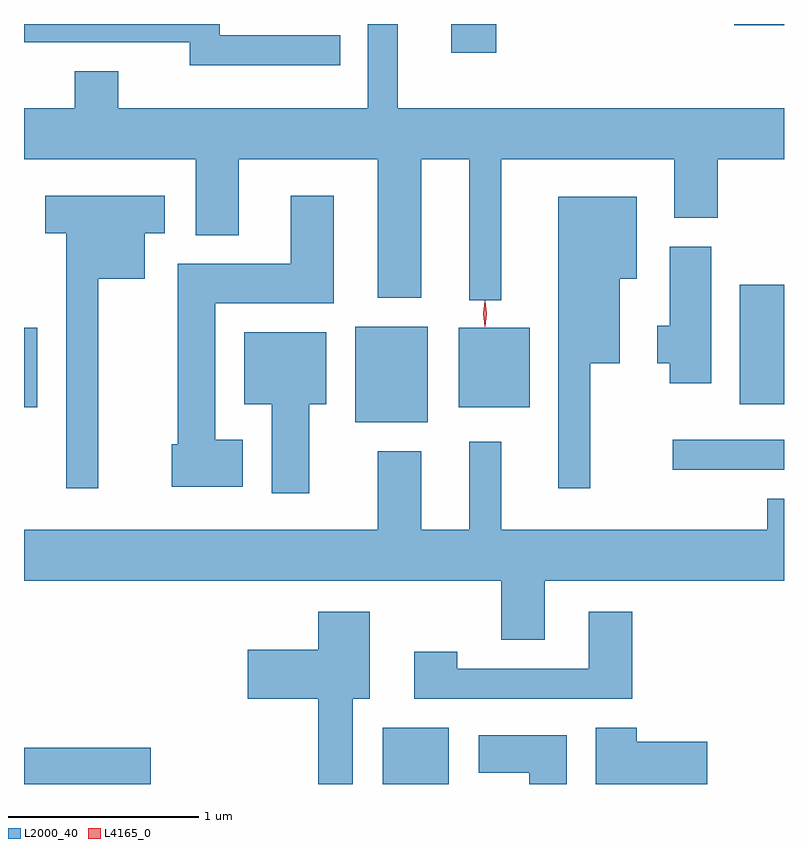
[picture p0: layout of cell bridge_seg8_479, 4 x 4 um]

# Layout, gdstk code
import gdstk
lib = gdstk.Library(unit=1e-6, precision=1e-09)
def R(c, l, rs):  # rectangles x0, y0, x1, y1
    for r in rs: c.add(gdstk.rectangle(r[:2], r[2:], *l))
def P(c, l, *ps):  # polygons
    for p in ps: c.add(gdstk.Polygon(p, *l))
L2000_40 = (2000, 40)
L4165_0 = (4165, 0)

bridge_seg8_479 = lib.new_cell('bridge_seg8_479')
R(bridge_seg8_479, L2000_40, [(226.328,1875.307,226.994,1875.499), (228.216,1875.307,228.564,1875.604), (229.743,1876.961,230.328,1877.119), (228.071,1877.211,228.454,1877.714), (226.328,1877.291,226.399,1877.709), (228.616,1877.291,228.989,1877.709), (230.096,1877.306,230.328,1877.934), (228.576,1879.156,228.814,1879.307), (230.066,1879.301,230.328,1879.307)])
P(bridge_seg8_479, L2000_40, [(227.993,1879.249),(227.359,1879.249),(227.359,1879.307),(226.328,1879.307),(226.328,1879.211),(227.201,1879.211),(227.201,1879.091),(227.993,1879.091)],
  [(228.294,1879.307),(228.136,1879.307),(228.136,1878.864),(226.824,1878.864),(226.824,1879.059),(226.596,1879.059),(226.596,1878.864),(226.328,1878.864),(226.328,1878.596),(227.231,1878.596),(227.231,1878.196),(227.459,1878.196),(227.459,1878.596),(228.191,1878.596),(228.191,1877.866),(228.419,1877.866),(228.419,1878.596),(228.671,1878.596),(228.671,1877.853),(228.839,1877.853),(228.839,1878.596),(229.751,1878.596),(229.751,1878.286),(229.979,1878.286),(229.979,1878.596),(230.328,1878.596),(230.328,1878.864),(228.294,1878.864)],
  [(226.719,1877.966),(226.964,1877.966),(226.964,1878.206),(227.069,1878.206),(227.069,1878.404),(226.441,1878.404),(226.441,1878.206),(226.551,1878.206),(226.551,1876.863),(226.719,1876.863)],
  [(227.479,1877.119),(227.334,1877.119),(227.334,1877.836),(227.959,1877.836),(227.959,1878.404),(227.731,1878.404),(227.731,1878.044),(227.136,1878.044),(227.136,1877.094),(227.106,1877.094),(227.106,1876.871),(227.479,1876.871)],
  [(229.309,1877.521),(229.464,1877.521),(229.464,1877.966),(229.554,1877.966),(229.554,1878.399),(229.141,1878.399),(229.141,1876.863),(229.309,1876.863)],
  [(229.944,1878.134),(229.726,1878.134),(229.726,1877.719),(229.661,1877.719),(229.661,1877.521),(229.726,1877.521),(229.726,1877.416),(229.944,1877.416)],
  [(227.829,1877.306),(227.919,1877.306),(227.919,1877.684),(227.486,1877.684),(227.486,1877.306),(227.631,1877.306),(227.631,1876.836),(227.829,1876.836)],
  [(229.069,1876.376),(230.328,1876.376),(230.328,1876.809),(230.241,1876.809),(230.241,1876.644),(228.839,1876.644),(228.839,1877.108),(228.671,1877.108),(228.671,1876.644),(228.419,1876.644),(228.419,1877.059),(228.191,1877.059),(228.191,1876.644),(226.328,1876.644),(226.328,1876.376),(228.841,1876.376),(228.841,1876.066),(229.069,1876.066)],
  [(228.059,1875.756),(228.149,1875.756),(228.149,1876.214),(227.876,1876.214),(227.876,1876.014),(227.506,1876.014),(227.506,1875.756),(227.876,1875.756),(227.876,1875.307),(228.059,1875.307)],
  [(229.529,1876.214),(229.301,1876.214),(229.301,1875.914),(228.609,1875.914),(228.609,1876.004),(228.381,1876.004),(228.381,1875.756),(229.529,1875.756)],
  [(229.924,1875.529),(229.554,1875.529),(229.554,1875.604),(229.336,1875.604),(229.336,1875.307),(229.924,1875.307)],
  [(229.184,1875.564),(228.721,1875.564),(228.721,1875.366),(228.986,1875.366),(228.986,1875.307),(229.184,1875.307)])
P(bridge_seg8_479, L4165_0, [(228.754,1877.714),(228.754,1877.714),(228.744,1877.782),(228.754,1877.85),(228.754,1877.85),(228.755,1877.85),(228.764,1877.782),(228.755,1877.714)],
  [(228.753,1877.718),(228.753,1877.718),(228.744,1877.782),(228.753,1877.846),(228.753,1877.847),(228.754,1877.846),(228.763,1877.782),(228.754,1877.718)])

lib.write_gds('bridge_seg8_479.gds')
